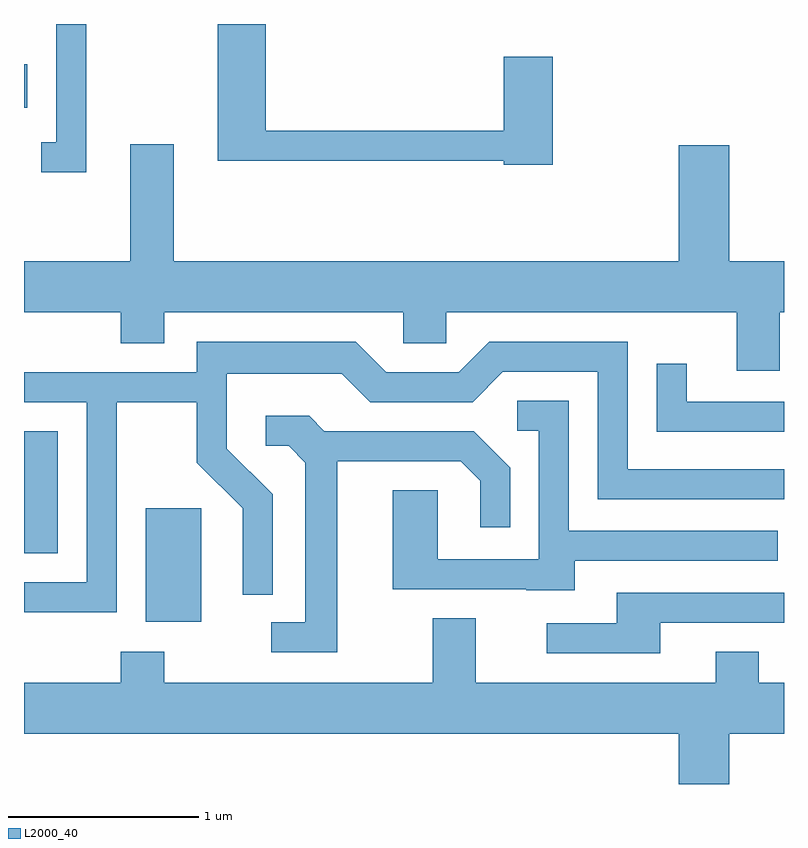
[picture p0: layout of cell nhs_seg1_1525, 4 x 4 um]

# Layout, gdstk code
import gdstk
lib = gdstk.Library(unit=1e-6, precision=1e-09)
def R(c, l, rs):  # rectangles x0, y0, x1, y1
    for r in rs: c.add(gdstk.rectangle(r[:2], r[2:], *l))
def P(c, l, *ps):  # polygons
    for p in ps: c.add(gdstk.Polygon(p, *l))
L2000_40 = (2000, 40)

nhs_seg1_1525 = lib.new_cell('nhs_seg1_1525')
R(nhs_seg1_1525, L2000_40, [(232.251,944.566,232.544,945.164), (231.611,944.926,231.789,945.569), (231.611,947.271,231.629,947.499)])
P(nhs_seg1_1525, L2000_40, [(234.394,947.539),(234.136,947.539),(234.136,947.149),(232.884,947.149),(232.884,947.712),(232.631,947.712),(232.631,946.991),(234.136,946.991),(234.136,946.971),(234.394,946.971)],
  [(231.939,947.712),(231.781,947.712),(231.781,947.089),(231.703,947.089),(231.703,946.931),(231.939,946.931)],
  [(235.589,946.196),(235.611,946.196),(235.611,946.464),(235.324,946.464),(235.324,947.074),(235.056,947.074),(235.056,946.464),(232.399,946.464),(232.399,947.079),(232.171,947.079),(232.171,946.464),(231.611,946.464),(231.611,946.196),(232.121,946.196),(232.121,946.031),(232.349,946.031),(232.349,946.196),(233.606,946.196),(233.606,946.031),(233.834,946.031),(233.834,946.196),(235.361,946.196),(235.361,945.886),(235.589,945.886)],
  [(232.099,945.721),(232.521,945.721),(232.521,945.404),(232.761,945.164),(232.761,944.708),(232.919,944.708),(232.919,945.237),(232.679,945.477),(232.679,945.871),(233.284,945.871),(233.434,945.721),(233.972,945.721),(234.132,945.881),(234.631,945.881),(234.631,945.211),(235.611,945.211),(235.611,945.369),(234.789,945.369),(234.789,946.039),(234.059,946.039),(233.899,945.879),(233.517,945.879),(233.357,946.039),(232.521,946.039),(232.521,945.879),(231.611,945.879),(231.611,945.721),(231.941,945.721),(231.941,944.774),(231.611,944.774),(231.611,944.616),(232.099,944.616)],
  [(235.611,945.724),(235.099,945.724),(235.099,945.923),(234.941,945.923),(234.941,945.566),(235.611,945.566)],
  [(234.509,944.886),(235.578,944.886),(235.578,945.044),(234.479,945.044),(234.479,945.729),(234.208,945.729),(234.208,945.571),(234.321,945.571),(234.321,944.894),(233.789,944.894),(233.789,945.259),(233.551,945.259),(233.551,944.736),(234.255,944.736),(234.255,944.731),(234.509,944.731)],
  [(233.259,945.411),(233.909,945.411),(234.011,945.309),(234.011,945.063),(234.169,945.063),(234.169,945.377),(233.977,945.569),(233.192,945.569),(233.112,945.649),(232.883,945.649),(232.883,945.491),(233.004,945.491),(233.091,945.404),(233.091,944.564),(232.913,944.564),(232.913,944.406),(233.259,944.406)],
  [(234.959,944.561),(235.611,944.561),(235.611,944.719),(234.731,944.719),(234.731,944.559),(234.363,944.559),(234.363,944.401),(234.959,944.401)],
  [(235.324,943.976),(235.611,943.976),(235.611,944.244),(235.479,944.244),(235.479,944.409),(235.251,944.409),(235.251,944.244),(233.989,944.244),(233.989,944.584),(233.761,944.584),(233.761,944.244),(232.349,944.244),(232.349,944.409),(232.121,944.409),(232.121,944.244),(231.611,944.244),(231.611,943.976),(235.056,943.976),(235.056,943.712),(235.324,943.712)])

lib.write_gds('nhs_seg1_1525.gds')
